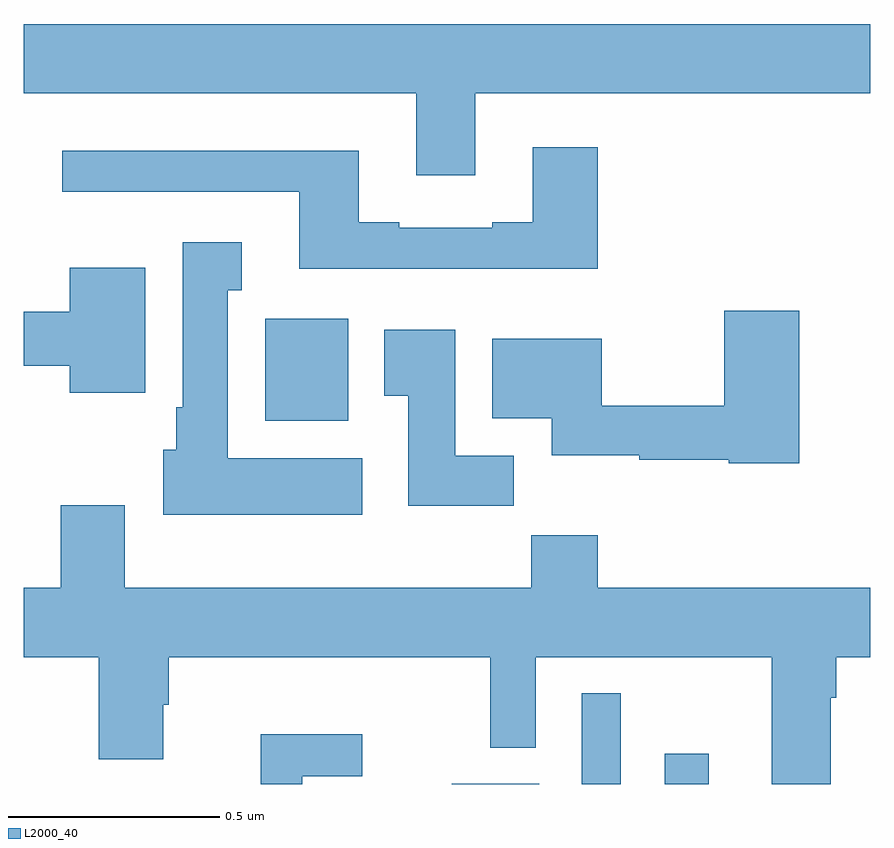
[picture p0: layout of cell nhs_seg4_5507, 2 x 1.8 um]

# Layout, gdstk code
import gdstk
lib = gdstk.Library(unit=1e-6, precision=1e-09)
def R(c, l, rs):  # rectangles x0, y0, x1, y1
    for r in rs: c.add(gdstk.rectangle(r[:2], r[2:], *l))
def P(c, l, *ps):  # polygons
    for p in ps: c.add(gdstk.Polygon(p, *l))
L2000_40 = (2000, 40)

nhs_seg4_5507 = lib.new_cell('nhs_seg4_5507')
R(nhs_seg4_5507, L2000_40, [(180.011,749.9,180.218,749.901), (180.318,749.9,180.411,750.115), (180.515,749.9,180.619,749.971), (179.57,750.758,179.767,751)])
P(nhs_seg4_5507, L2000_40, [(180.067,751.532),(181,751.532),(181,751.696),(179,751.696),(179,751.532),(179.927,751.532),(179.927,751.338),(180.067,751.338)],
  [(180.356,751.405),(180.203,751.405),(180.203,751.228),(180.107,751.228),(180.107,751.215),(179.887,751.215),(179.887,751.228),(179.791,751.228),(179.791,751.396),(179.091,751.396),(179.091,751.299),(179.651,751.299),(179.651,751.118),(180.356,751.118)],
  [(179.8,750.67),(179.482,750.67),(179.482,751.067),(179.515,751.067),(179.515,751.18),(179.375,751.18),(179.375,750.79),(179.36,750.79),(179.36,750.69),(179.33,750.69),(179.33,750.536),(179.8,750.536)],
  [(179.287,751.12),(179.108,751.12),(179.108,751.016),(179,751.016),(179,750.888),(179.108,750.888),(179.108,750.824),(179.287,750.824)],
  [(180.833,751.018),(180.655,751.018),(180.655,750.794),(180.366,750.794),(180.366,750.952),(180.107,750.952),(180.107,750.764),(180.248,750.764),(180.248,750.677),(180.454,750.677),(180.454,750.666),(180.666,750.666),(180.666,750.658),(180.833,750.658)],
  [(180.158,750.676),(180.019,750.676),(180.019,750.973),(179.852,750.973),(179.852,750.817),(179.909,750.817),(179.909,750.558),(180.158,750.558)],
  [(180.907,750.104),(180.92,750.104),(180.92,750.2),(181,750.2),(181,750.364),(180.356,750.364),(180.356,750.488),(180.199,750.488),(180.199,750.364),(179.239,750.364),(179.239,750.559),(179.087,750.559),(179.087,750.364),(179,750.364),(179,750.2),(179.177,750.2),(179.177,749.958),(179.329,749.958),(179.329,750.087),(179.342,750.087),(179.342,750.2),(180.102,750.2),(180.102,749.986),(180.21,749.986),(180.21,750.2),(180.767,750.2),(180.767,749.9),(180.907,749.9)],
  [(179.658,749.918),(179.8,749.918),(179.8,750.017),(179.56,750.017),(179.56,749.9),(179.658,749.9)])

lib.write_gds('nhs_seg4_5507.gds')
